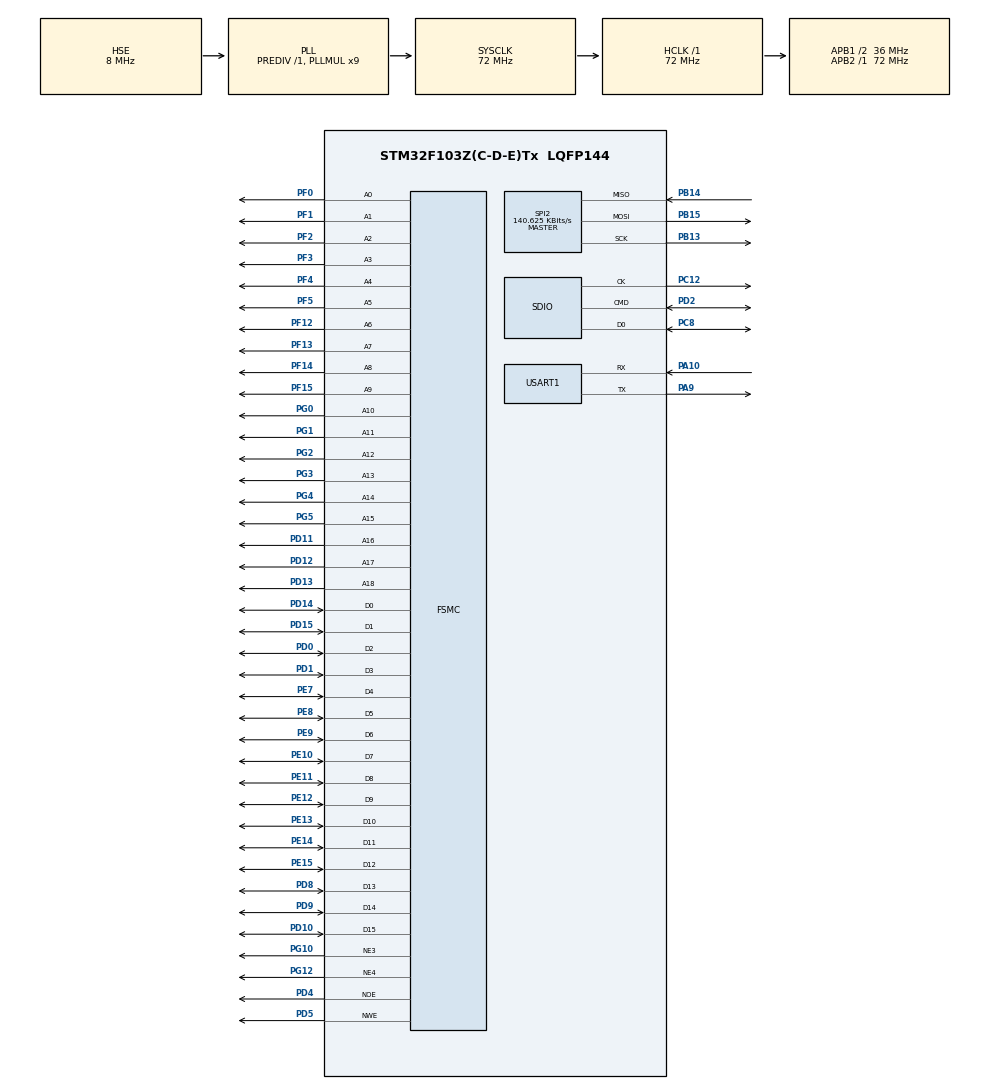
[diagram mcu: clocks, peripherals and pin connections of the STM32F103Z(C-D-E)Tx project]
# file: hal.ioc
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FREERTOS.Tasks01=defaultTask,24,128,StartDefaultTask,Default,NULL,Dynamic,NULL,NULL;Led,23,160,LedTask,Default,NULL,Dynamic,NULL,NULL;LvglTask,24,2048,LvglCreate,Default,NULL,Dynamic,NULL,NULL
FREERTOS.configTOTAL_HEAP_SIZE=10240
FSMC.AddressSetupTime1=0
FSMC.AddressSetupTime4=0xf
FSMC.BusTurnAroundDuration1=0
FSMC.BusTurnAroundDuration4=0
FSMC.DataSetupTime1=8
FSMC.DataSetupTime4=60
FSMC.ExtendedAddressSetupTime4=9
FSMC.ExtendedBusTurnAroundDuration4=0
FSMC.ExtendedDataSetupTime4=8
FSMC.ExtendedMode4=FSMC_EXTENDED_MODE_ENABLE
FSMC.WriteOperation1=FSMC_WRITE_OPERATION_ENABLE
Mcu.Family=STM32F1
Mcu.Name=STM32F103Z(C-D-E)Tx
Mcu.Package=LQFP144
NVIC.PriorityGroup=NVIC_PRIORITYGROUP_4
NVIC.USART1_IRQn=true\:5\:0\:true\:false\:true\:true\:true\:true\:true
OSC_IN.Mode=HSE-External-Oscillator
OSC_IN.Signal=RCC_OSC_IN
OSC_OUT.Mode=HSE-External-Oscillator
OSC_OUT.Signal=RCC_OSC_OUT
PA0-WKUP.Mode=SYS_WakeUp0
PA0-WKUP.Signal=SYS_WKUP
PA10.Mode=Asynchronous
PA10.Signal=USART1_RX
PA13.Mode=JTAG_5_pins
PA13.Signal=SYS_JTMS-SWDIO
PA14.Mode=JTAG_5_pins
PA14.Signal=SYS_JTCK-SWCLK
PA15.Mode=JTAG_5_pins
PA15.Signal=SYS_JTDI
PA9.Mode=Asynchronous
PA9.Signal=USART1_TX
PB13.Mode=Full_Duplex_Master
PB13.Signal=SPI2_SCK
PB14.Mode=Full_Duplex_Master
PB14.Signal=SPI2_MISO
PB15.Mode=Full_Duplex_Master
PB15.Signal=SPI2_MOSI
PB3.Mode=JTAG_5_pins
PB3.Signal=SYS_JTDO-TRACESWO
PB4.Mode=JTAG_5_pins
PB4.Signal=SYS_NJTRST
PC12.Mode=SD_1_bit
PC12.Signal=SDIO_CK
PC14-OSC32_IN.Mode=LSE-External-Oscillator
PC14-OSC32_IN.Signal=RCC_OSC32_IN
PC15-OSC32_OUT.Mode=LSE-External-Oscillator
PC15-OSC32_OUT.Signal=RCC_OSC32_OUT
PC8.Mode=SD_1_bit
PC8.Signal=SDIO_D0
PD0.Signal=FSMC_D2_DA2
PD1.Signal=FSMC_D3_DA3
PD10.Signal=FSMC_D15_DA15
PD11.Signal=FSMC_A16_CLE
PD12.Signal=FSMC_A17_ALE
PD13.Signal=FSMC_A18
PD14.Signal=FSMC_D0_DA0
PD15.Signal=FSMC_D1_DA1
PD2.Mode=SD_1_bit
PD2.Signal=SDIO_CMD
PD4.Signal=FSMC_NOE
PD5.Signal=FSMC_NWE
PD8.Signal=FSMC_D13_DA13
PD9.Signal=FSMC_D14_DA14
PE10.Signal=FSMC_D7_DA7
PE11.Signal=FSMC_D8_DA8
PE12.Signal=FSMC_D9_DA9
PE13.Signal=FSMC_D10_DA10
PE14.Signal=FSMC_D11_DA11
PE15.Signal=FSMC_D12_DA12
PE7.Signal=FSMC_D4_DA4
PE8.Signal=FSMC_D5_DA5
PE9.Signal=FSMC_D6_DA6
PF0.Signal=FSMC_A0
PF1.Signal=FSMC_A1
PF12.Signal=FSMC_A6
PF13.Signal=FSMC_A7
PF14.Signal=FSMC_A8
PF15.Signal=FSMC_A9
PF2.Signal=FSMC_A2
PF3.Signal=FSMC_A3
PF4.Signal=FSMC_A4
PF5.Signal=FSMC_A5
PG0.Signal=FSMC_A10
PG1.Signal=FSMC_A11
PG10.Mode=NorPsramChipSelect3_1
PG10.Signal=FSMC_NE3
PG12.Mode=NorPsramChipSelect4_4
PG12.Signal=FSMC_NE4
PG2.Signal=FSMC_A12
PG3.Signal=FSMC_A13
PG4.Signal=FSMC_A14
PG5.Signal=FSMC_A15
ProjectManager.HeapSize=0x3000
ProjectManager.StackSize=0x3000
ProjectManager.TargetToolchain=STM32CubeIDE
RCC.AHBFreq_Value=72000000
RCC.APB1CLKDivider=RCC_HCLK_DIV2
RCC.APB1Freq_Value=36000000
RCC.APB1TimFreq_Value=72000000
RCC.APB2Freq_Value=72000000
RCC.APB2TimFreq_Value=72000000
RCC.HCLKFreq_Value=72000000
RCC.PLLMUL=RCC_PLL_MUL9
RCC.PLLSourceVirtual=RCC_PLLSOURCE_HSE
RCC.SYSCLKFreq_VALUE=72000000
RCC.SYSCLKSource=RCC_SYSCLKSOURCE_PLLCLK
RCC.USBFreq_Value=72000000
SDIO.ClockDiv=4
SH.FSMC_A0.0=FSMC_A0,19b-a1
SH.FSMC_A1.0=FSMC_A1,19b-a1
SH.FSMC_A10.0=FSMC_A10,A10_4
SH.FSMC_A10.1=FSMC_A10,19b-a1
SH.FSMC_A11.0=FSMC_A11,19b-a1
SH.FSMC_A12.0=FSMC_A12,19b-a1
SH.FSMC_A13.0=FSMC_A13,19b-a1
SH.FSMC_A14.0=FSMC_A14,19b-a1
SH.FSMC_A15.0=FSMC_A15,19b-a1
SH.FSMC_A16_CLE.0=FSMC_A16,19b-a1
SH.FSMC_A17_ALE.0=FSMC_A17,19b-a1
SH.FSMC_A18.0=FSMC_A18,19b-a1
SH.FSMC_A2.0=FSMC_A2,19b-a1
SH.FSMC_A3.0=FSMC_A3,19b-a1
SH.FSMC_A4.0=FSMC_A4,19b-a1
SH.FSMC_A5.0=FSMC_A5,19b-a1
SH.FSMC_A6.0=FSMC_A6,19b-a1
SH.FSMC_A7.0=FSMC_A7,19b-a1
SH.FSMC_A8.0=FSMC_A8,19b-a1
SH.FSMC_A9.0=FSMC_A9,19b-a1
SH.FSMC_D0_DA0.0=FSMC_D0,16b-d4
SH.FSMC_D0_DA0.1=FSMC_D0,16b-d1
SH.FSMC_D10_DA10.0=FSMC_D10,16b-d4
SH.FSMC_D10_DA10.1=FSMC_D10,16b-d1
SH.FSMC_D11_DA11.0=FSMC_D11,16b-d4
SH.FSMC_D11_DA11.1=FSMC_D11,16b-d1
SH.FSMC_D12_DA12.0=FSMC_D12,16b-d4
SH.FSMC_D12_DA12.1=FSMC_D12,16b-d1
SH.FSMC_D13_DA13.0=FSMC_D13,16b-d4
SH.FSMC_D13_DA13.1=FSMC_D13,16b-d1
SH.FSMC_D14_DA14.0=FSMC_D14,16b-d4
SH.FSMC_D14_DA14.1=FSMC_D14,16b-d1
SH.FSMC_D15_DA15.0=FSMC_D15,16b-d4
SH.FSMC_D15_DA15.1=FSMC_D15,16b-d1
SH.FSMC_D1_DA1.0=FSMC_D1,16b-d4
SH.FSMC_D1_DA1.1=FSMC_D1,16b-d1
SH.FSMC_D2_DA2.0=FSMC_D2,16b-d4
SH.FSMC_D2_DA2.1=FSMC_D2,16b-d1
SH.FSMC_D3_DA3.0=FSMC_D3,16b-d4
SH.FSMC_D3_DA3.1=FSMC_D3,16b-d1
SH.FSMC_D4_DA4.0=FSMC_D4,16b-d4
SH.FSMC_D4_DA4.1=FSMC_D4,16b-d1
SH.FSMC_D5_DA5.0=FSMC_D5,16b-d4
SH.FSMC_D5_DA5.1=FSMC_D5,16b-d1
SH.FSMC_D6_DA6.0=FSMC_D6,16b-d4
SH.FSMC_D6_DA6.1=FSMC_D6,16b-d1
SH.FSMC_D7_DA7.0=FSMC_D7,16b-d4
SH.FSMC_D7_DA7.1=FSMC_D7,16b-d1
SH.FSMC_D8_DA8.0=FSMC_D8,16b-d4
SH.FSMC_D8_DA8.1=FSMC_D8,16b-d1
SH.FSMC_D9_DA9.0=FSMC_D9,16b-d4
SH.FSMC_D9_DA9.1=FSMC_D9,16b-d1
SH.FSMC_NOE.0=FSMC_NOE,Lcd4
SH.FSMC_NOE.1=FSMC_NOE,Sram1
SH.FSMC_NWE.0=FSMC_NWE,Lcd4
SH.FSMC_NWE.1=FSMC_NWE,Sram1
SPI2.BaudRatePrescaler=SPI_BAUDRATEPRESCALER_256
SPI2.CLKPhase=SPI_PHASE_2EDGE
SPI2.CLKPolarity=SPI_POLARITY_HIGH
SPI2.CalculateBaudRate=140.625 KBits/s
SPI2.Direction=SPI_DIRECTION_2LINES
SPI2.Mode=SPI_MODE_MASTER
SPI2.VirtualType=VM_MASTER
USART1.Parity=PARITY_ODD
USART1.VirtualMode=VM_ASYNC
USART1.WordLength=WORDLENGTH_9B
VP_FREERTOS_VS_CMSIS_V2.Mode=CMSIS_V2
board=custom

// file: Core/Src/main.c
/* USER CODE BEGIN Header */
/**
 ******************************************************************************
 * @file           : main.c
 * @brief          : Main program body
 ******************************************************************************
 * @attention
 *
 * Copyright (c) 2024 STMicroelectronics.
 * All rights reserved.
 *
 * This software is licensed under terms that can be found in the LICENSE file
 * in the root directory of this software component.
 * If no LICENSE file comes with this software, it is provided AS-IS.
 *
 ******************************************************************************
 */
/* USER CODE END Header */
#include "main.h"
#include "cmsis_os.h"
#include "sdio.h"
#include "spi.h"
#include "usart.h"
#include "gpio.h"
#include "fsmc.h"
/* USER CODE BEGIN Includes */
#include "system.h"
#include "led.h"
#include "key.h"
#include "SysTick.h"
#include "semphr.h"
#include "task.h"
#include "malloc.h"
#include "flash.h"
#include "font_show.h"

#define USE_LVGL
#ifdef USE_LVGL

#include "lvgl.h"
#include "lv_port_disp_template.h"
#include "lv_port_indev_template.h"
#include "lv_port_fs_template.h"

#endif

/* USER CODE END Includes */

/* USER CODE BEGIN PTD */
extern TickType_t xTaskGetTickCount(void);

uint32_t lvgl_get_tick(void) {
    return xTaskGetTickCount();
}
/* USER CODE END PTD */

void SystemClock_Config(void);

void MX_FREERTOS_Init(void);

int main(void) {

    /* MCU Configuration--------------------------------------------------------*/

    /* Reset of all peripherals, Initializes the Flash interface and the Systick. */
    HAL_Init();

    /* Configure the system clock */
    SystemClock_Config();

    /* Initialize all configured peripherals */
    MX_GPIO_Init();
    MX_FSMC_Init();
    MX_USART1_UART_Init();
    MX_SPI2_Init();
    MX_SDIO_SD_Init();
    /* USER CODE BEGIN 2 */
    SysTick_Init(72);
    LED_Init();
    KEY_Init();
    u8 res = font_init();

    if (res != 0) {
        printf("font init err\r\n");
    }
    my_mem_init(SRAMIN);
    //��ʼ��EN25Q128
    lv_init();
    lv_tick_set_cb(lvgl_get_tick);
    lv_port_disp_init();
    lv_port_indev_init();
//    lv_port_fs_init();

    /* USER CODE END 2 */

    /* Init scheduler */
    osKernelInitialize();

    /* Call init function for freertos objects (in cmsis_os2.c) */
    MX_FREERTOS_Init();

    /* Start scheduler */
    osKernelStart();

    /* We should never get here as control is now taken by the scheduler */

    /* Infinite loop */
    while (1) {

    }
}

void SystemClock_Config(void) {
    RCC_OscInitTypeDef RCC_OscInitStruct = {0};
    RCC_ClkInitTypeDef RCC_ClkInitStruct = {0};

    /** Initializes the RCC Oscillators according to the specified parameters
    * in the RCC_OscInitTypeDef structure.
    */
    RCC_OscInitStruct.OscillatorType = RCC_OSCILLATORTYPE_HSE;
    RCC_OscInitStruct.HSEState = RCC_HSE_ON;
    RCC_OscInitStruct.HSEPredivValue = RCC_HSE_PREDIV_DIV1;
    RCC_OscInitStruct.HSIState = RCC_HSI_ON;
    RCC_OscInitStruct.PLL.PLLState = RCC_PLL_ON;
    RCC_OscInitStruct.PLL.PLLSource = RCC_PLLSOURCE_HSE;
    RCC_OscInitStruct.PLL.PLLMUL = RCC_PLL_MUL9;
    if (HAL_RCC_OscConfig(&RCC_OscInitStruct) != HAL_OK) {
        Error_Handler();
    }

    /** Initializes the CPU, AHB and APB buses clocks
    */
    RCC_ClkInitStruct.ClockType = RCC_CLOCKTYPE_HCLK | RCC_CLOCKTYPE_SYSCLK
                                  | RCC_CLOCKTYPE_PCLK1 | RCC_CLOCKTYPE_PCLK2;
    RCC_ClkInitStruct.SYSCLKSource = RCC_SYSCLKSOURCE_PLLCLK;
    RCC_ClkInitStruct.AHBCLKDivider = RCC_SYSCLK_DIV1;
    RCC_ClkInitStruct.APB1CLKDivider = RCC_HCLK_DIV2;
    RCC_ClkInitStruct.APB2CLKDivider = RCC_HCLK_DIV1;

    if (HAL_RCC_ClockConfig(&RCC_ClkInitStruct, FLASH_LATENCY_2) != HAL_OK) {
        Error_Handler();
    }
}

void Error_Handler(void) {
    __disable_irq();
    while (1) {
    }
}
